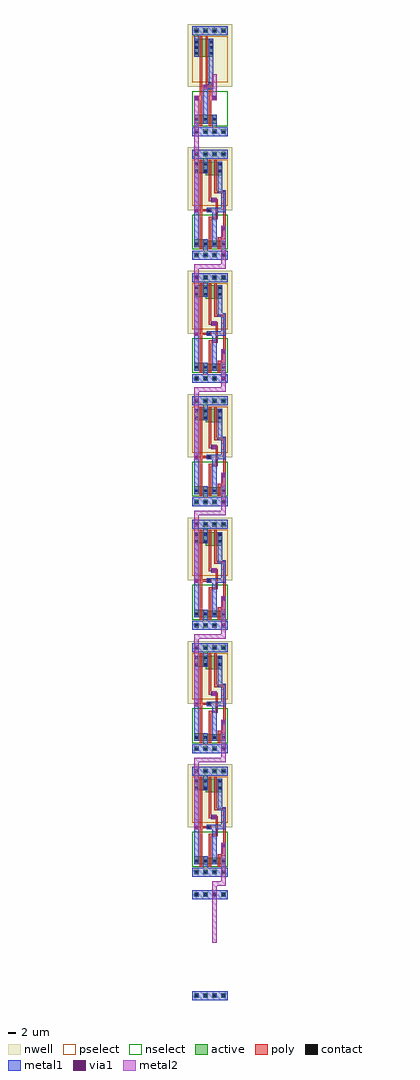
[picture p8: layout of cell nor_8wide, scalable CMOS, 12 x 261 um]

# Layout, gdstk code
import gdstk
lib = gdstk.Library(unit=1e-6, precision=1e-09)
def R(c, l, rs):  # rectangles x0, y0, x1, y1
    for r in rs: c.add(gdstk.rectangle(r[:2], r[2:], *l))
def A(c, l, x, y, w, h, nx, ny, dx, dy):  # array of equal rectangles
    R(c, l, [(x+i*dx, y+j*dy, x+i*dx+w, y+j*dy+h) for i in range(nx) for j in range(ny)])
def P(c, l, *ps):  # polygons
    for p in ps: c.add(gdstk.Polygon(p, *l))
contact = (25, 0)
nwell = (42, 0)
active = (43, 0)
pselect = (44, 0)
nselect = (45, 0)
poly = (46, 0)
metal1 = (49, 0)
via1 = (50, 0)
metal2 = (51, 0)

or2_1x = lib.new_cell('or2_1x')
A(or2_1x, contact, 0.9, -0.3, 0.6, 0.6, 4, 2, 2.4, 3)
A(or2_1x, contact, 0.9, 26.7, 0.6, 0.6, 4, 1, 2.4, 0)
R(or2_1x, contact, [(8.1,6.9,8.7,7.5), (4.2,11.7,4.8,12.3), (5.4,14.4,6,15), (0.9,22.2,1.5,22.8), (3.3,22.2,3.9,22.8), (7.2,22.2,7.8,22.8), (0.9,24,1.5,24.6), (3.3,24,3.9,24.6), (7.2,24,7.8,24.6)])
R(or2_1x, nwell, [(-1.2,12,10.8,28.8)])
A(or2_1x, active, 0.6, -0.6, 1.2, 1.2, 4, 2, 2.4, 27)
R(or2_1x, active, [(0.6,2.1,4.2,4.2), (4.2,2.1,9,3.9), (3.6,21.3,4.2,21.9), (4.2,21.3,8.1,24.9), (0.6,21.9,4.2,24.9)])
R(or2_1x, pselect, [(0,-1.2,9.6,1.2), (0,13.2,9.6,25.5)])
R(or2_1x, nselect, [(0,1.5,9.6,10.8), (0,25.8,9.6,28.2)])
R(or2_1x, poly, [(2.1,1.5,2.7,25.5), (4.5,1.5,5.1,10.2), (6.9,1.5,7.5,4.8), (7.5,4.2,9,4.8), (8.1,4.8,9,6.6), (7.8,6.6,9,7.8), (8.4,7.8,9,17.1), (5.1,9.6,6.3,10.2), (6.3,9.6,6.9,15), (3.9,11.4,5.1,12.6), (2.7,11.7,3.9,12.3), (5.1,14.1,6.3,15.3), (4.5,14.4,5.1,25.5), (6,16.5,6.6,25.5), (6.6,16.5,8.4,17.1)])
R(or2_1x, metal1, [(0,-1.2,9.6,1.2), (0,-1.2,9.6,1.2), (3,1.2,4.2,4.2), (7.8,1.2,9,3.9), (0.6,2.1,1.8,24.9), (5.4,2.1,6.6,11.4), (7.8,6.6,9,7.8), (3.9,11.4,9,12.6), (7.8,12.6,9,17.4), (5.1,14.1,6.6,15.3), (6.9,16.5,8.1,24.9), (3,21.9,4.2,25.8), (0,25.8,9.6,28.2), (0,25.8,9.6,28.2)])
R(or2_1x, via1, [(8.1,6.9,8.7,7.5), (0.9,11.7,1.5,12.3), (5.7,14.4,6.3,15)])
R(or2_1x, metal2, [(7.8,6.6,9,7.8), (0.6,11.4,1.8,12.6), (5.4,14.1,6.6,15.3)])

nor2_1x = lib.new_cell('nor2_1x')
A(nor2_1x, contact, 0.9, -0.3, 0.6, 0.6, 3, 2, 2.4, 3.3)
A(nor2_1x, contact, 0.9, 20.7, 0.6, 0.6, 1, 3, 0, 1.5)
A(nor2_1x, contact, 4.8, 20.7, 0.6, 0.6, 1, 3, 0, 1.5)
A(nor2_1x, contact, 0.9, 26.7, 0.6, 0.6, 3, 1, 2.4, 0)
R(nor2_1x, contact, [(0.9,8.7,1.5,9.3), (5.7,8.7,6.3,9.3)])
R(nor2_1x, nwell, [(-1.2,12,8.4,28.8)])
A(nor2_1x, active, 0.6, -0.6, 1.2, 1.2, 3, 2, 2.4, 27)
R(nor2_1x, active, [(0.6,2.1,6.6,4.5), (0.6,20.1,5.7,24.9)])
R(nor2_1x, pselect, [(0,-1.2,7.2,1.2), (0,13.2,7.2,25.5)])
R(nor2_1x, nselect, [(0,1.5,7.2,10.8), (0,25.8,7.2,28.2)])
R(nor2_1x, poly, [(2.1,1.5,2.7,25.5), (0.6,8.4,2.1,9.6), (5.1,8.4,6.6,9.6)])
P(nor2_1x, poly, [(5.1,13.2),(4.2,13.2),(4.2,25.5),(3.6,25.5),(3.6,12.6),(4.5,12.6),(4.5,1.5),(5.1,1.5)])
R(nor2_1x, metal1, [(0,-1.2,7.2,1.2), (0.6,8.4,1.8,9.6), (5.4,8.4,6.6,9.6), (0,25.8,7.2,28.2)])
P(nor2_1x, metal1, [(5.7,24.9),(4.5,24.9),(4.5,12.6),(3,12.6),(3,2.1),(4.2,2.1),(4.2,11.4),(5.7,11.4)],
  [(7.2,28.2),(0,28.2),(0,25.8),(0.6,25.8),(0.6,20.1),(1.8,20.1),(1.8,25.8),(7.2,25.8)],
  [(7.2,1.2),(6.6,1.2),(6.6,4.5),(5.4,4.5),(5.4,1.2),(1.8,1.2),(1.8,4.5),(0.6,4.5),(0.6,1.2),(0,1.2),(0,-1.2),(7.2,-1.2)])
R(nor2_1x, via1, [(0.9,8.7,1.5,9.3), (5.7,8.7,6.3,9.3), (3.3,11.7,3.9,12.3)])
R(nor2_1x, metal2, [(0.6,8.4,1.8,9.6), (5.4,8.4,6.6,9.6), (3,11.4,4.2,12.6)])

nor_8wide = lib.new_cell('nor_8wide')
A(nor_8wide, contact, 0.9, -0.3, 0.6, 0.6, 4, 2, 2.4, 27)
R(nor_8wide, contact, [(8.1,230.7,8.7,231.3), (8.1,257.7,8.7,258.3)])
R(nor_8wide, nwell, [(-1.2,243,10.8,259.8)])
A(nor_8wide, active, 0.6, -0.6, 1.2, 1.2, 4, 2, 2.4, 27)
R(nor_8wide, active, [(7.8,230.4,9,231.6), (7.8,257.4,9,258.6)])
R(nor_8wide, pselect, [(0,-1.2,9.6,1.2), (0,229.8,9.6,232.2), (0,244.2,9.6,256.5)])
R(nor_8wide, nselect, [(0,25.8,9.6,28.2), (0,232.5,9.6,241.8), (0,256.8,9.6,259.2)])
R(nor_8wide, metal1, [(0,-1.2,9.6,1.2), (0,-1.2,9.6,1.2), (0,25.8,9.6,28.2), (0,25.8,9.6,28.2), (0,31.8,9.6,34.2), (0,58.8,9.6,61.2), (0,64.8,9.6,67.2), (0,91.8,9.6,94.2), (0,97.8,9.6,100.2), (0,124.8,9.6,127.2), (0,130.8,9.6,133.2), (0,157.8,9.6,160.2), (0,163.8,9.6,166.2), (0,190.8,9.6,193.2), (0,196.8,9.6,199.2), (0,223.8,9.6,226.2), (0,229.8,9.6,232.2), (0,229.8,9.6,232.2), (0,256.8,9.6,259.2), (0,256.8,9.6,259.2)])
A(nor_8wide, metal2, 5.4, 14.1, 1.2, 1.2, 1, 8, 0, 33)
A(nor_8wide, metal2, 7.8, 29.4, 1.2, 11.4, 1, 6, 0, 33)
A(nor_8wide, metal2, 0.6, 44.4, 1.2, 19.2, 1, 5, 0, 33)
A(nor_8wide, metal2, 0.6, 62.4, 8.4, 1.2, 1, 5, 0, 33)
R(nor_8wide, metal2, [(5.4,14.1,6.6,30.6), (5.4,14.1,6.6,15.3), (5.4,29.4,9,30.6), (0.6,209.4,1.8,240.6), (5.4,239.4,6.6,246.3), (3,242.4,4.2,243.6)])
r = gdstk.Reference(or2_1x, (0,33)); r.repetition = gdstk.Repetition(1, 6, v1=(12,0), v2=(0,33)); nor_8wide.add(r)
nor_8wide.add(gdstk.Reference(nor2_1x, (0,231)))

lib.write_gds('nor_8wide.gds')
